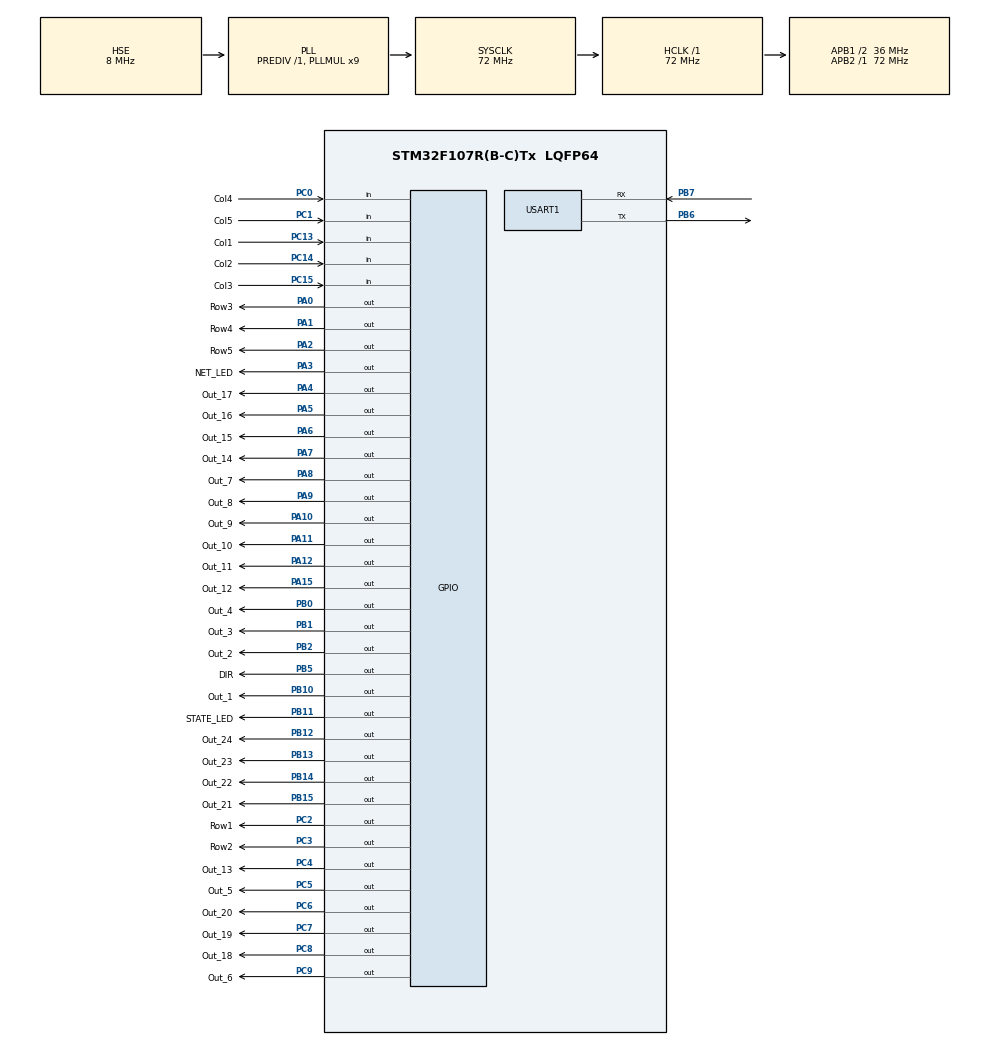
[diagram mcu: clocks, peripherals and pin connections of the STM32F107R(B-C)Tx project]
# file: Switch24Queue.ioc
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ADC1.Channel-0\#ChannelRegularConversion=ADC_CHANNEL_TEMPSENSOR
ADC1.ContinuousConvMode=ENABLE
ADC1.NbrOfConversionFlag=1
ADC1.Rank-0\#ChannelRegularConversion=1
ADC1.SamplingTime-0\#ChannelRegularConversion=ADC_SAMPLETIME_239CYCLES_5
ADC1.master=1
Dma.ADC1.2.Direction=DMA_PERIPH_TO_MEMORY
Dma.ADC1.2.Instance=DMA1_Channel1
Dma.ADC1.2.MemDataAlignment=DMA_MDATAALIGN_WORD
Dma.ADC1.2.MemInc=DMA_MINC_ENABLE
Dma.ADC1.2.Mode=DMA_CIRCULAR
Dma.ADC1.2.PeriphDataAlignment=DMA_PDATAALIGN_WORD
Dma.ADC1.2.PeriphInc=DMA_PINC_DISABLE
Dma.ADC1.2.Priority=DMA_PRIORITY_LOW
Dma.Request0=USART1_RX
Dma.Request1=USART1_TX
Dma.Request2=ADC1
Dma.USART1_RX.0.Direction=DMA_PERIPH_TO_MEMORY
Dma.USART1_RX.0.Instance=DMA1_Channel5
Dma.USART1_RX.0.MemDataAlignment=DMA_MDATAALIGN_BYTE
Dma.USART1_RX.0.MemInc=DMA_MINC_ENABLE
Dma.USART1_RX.0.Mode=DMA_CIRCULAR
Dma.USART1_RX.0.PeriphDataAlignment=DMA_PDATAALIGN_BYTE
Dma.USART1_RX.0.PeriphInc=DMA_PINC_DISABLE
Dma.USART1_RX.0.Priority=DMA_PRIORITY_LOW
Dma.USART1_TX.1.Direction=DMA_MEMORY_TO_PERIPH
Dma.USART1_TX.1.Instance=DMA1_Channel4
Dma.USART1_TX.1.MemDataAlignment=DMA_MDATAALIGN_BYTE
Dma.USART1_TX.1.MemInc=DMA_MINC_ENABLE
Dma.USART1_TX.1.Mode=DMA_NORMAL
Dma.USART1_TX.1.PeriphDataAlignment=DMA_PDATAALIGN_BYTE
Dma.USART1_TX.1.PeriphInc=DMA_PINC_DISABLE
Dma.USART1_TX.1.Priority=DMA_PRIORITY_LOW
IWDG.Prescaler=IWDG_PRESCALER_32
IWDG.Reload=2500
Mcu.Family=STM32F1
Mcu.Name=STM32F107R(B-C)Tx
Mcu.Package=LQFP64
NVIC.ADC1_2_IRQn=true\:0\:0\:false\:false\:true\:true\:true\:true
NVIC.DMA1_Channel1_IRQn=true\:0\:0\:false\:false\:true\:false\:true\:true
NVIC.DMA1_Channel4_IRQn=true\:0\:0\:false\:false\:true\:false\:true\:true
NVIC.DMA1_Channel5_IRQn=true\:0\:0\:false\:false\:true\:false\:true\:true
NVIC.PriorityGroup=NVIC_PRIORITYGROUP_4
NVIC.TIM7_IRQn=true\:15\:0\:false\:false\:true\:false\:true\:true
NVIC.TimeBase=TIM7_IRQn
NVIC.TimeBaseIP=TIM7
NVIC.USART1_IRQn=true\:0\:0\:false\:false\:true\:true\:true\:true
PA0-WKUP.GPIO_Label=Row3
PA0-WKUP.GPIO_ModeDefaultOutputPP=GPIO_MODE_OUTPUT_PP
PA0-WKUP.GPIO_PuPd=GPIO_NOPULL
PA0-WKUP.GPIO_Speed=GPIO_SPEED_FREQ_HIGH
PA0-WKUP.PinState=GPIO_PIN_RESET
PA0-WKUP.Signal=GPIO_Output
PA1.GPIO_Label=Row4
PA1.GPIO_ModeDefaultOutputPP=GPIO_MODE_OUTPUT_PP
PA1.GPIO_PuPd=GPIO_NOPULL
PA1.GPIO_Speed=GPIO_SPEED_FREQ_HIGH
PA1.PinState=GPIO_PIN_RESET
PA1.Signal=GPIO_Output
PA10.GPIO_Label=Out_9
PA10.GPIO_ModeDefaultOutputPP=GPIO_MODE_OUTPUT_PP
PA10.GPIO_PuPd=GPIO_NOPULL
PA10.GPIO_Speed=GPIO_SPEED_FREQ_HIGH
PA10.PinState=GPIO_PIN_RESET
PA10.Signal=GPIO_Output
PA11.GPIO_Label=Out_10
PA11.GPIO_ModeDefaultOutputPP=GPIO_MODE_OUTPUT_PP
PA11.GPIO_PuPd=GPIO_NOPULL
PA11.GPIO_Speed=GPIO_SPEED_FREQ_HIGH
PA11.PinState=GPIO_PIN_RESET
PA11.Signal=GPIO_Output
PA12.GPIO_Label=Out_11
PA12.GPIO_ModeDefaultOutputPP=GPIO_MODE_OUTPUT_PP
PA12.GPIO_PuPd=GPIO_NOPULL
PA12.GPIO_Speed=GPIO_SPEED_FREQ_HIGH
PA12.PinState=GPIO_PIN_RESET
PA12.Signal=GPIO_Output
PA13.Mode=Serial_Wire
PA13.Signal=SYS_JTMS-SWDIO
PA14.Mode=Serial_Wire
PA14.Signal=SYS_JTCK-SWCLK
PA15.GPIO_Label=Out_12
PA15.GPIO_ModeDefaultOutputPP=GPIO_MODE_OUTPUT_PP
PA15.GPIO_PuPd=GPIO_NOPULL
PA15.GPIO_Speed=GPIO_SPEED_FREQ_HIGH
PA15.PinState=GPIO_PIN_RESET
PA15.Signal=GPIO_Output
PA2.GPIO_Label=Row5
PA2.GPIO_ModeDefaultOutputPP=GPIO_MODE_OUTPUT_PP
PA2.GPIO_PuPd=GPIO_NOPULL
PA2.GPIO_Speed=GPIO_SPEED_FREQ_HIGH
PA2.PinState=GPIO_PIN_RESET
PA2.Signal=GPIO_Output
PA3.GPIO_Label=NET_LED
PA3.GPIO_ModeDefaultOutputPP=GPIO_MODE_OUTPUT_PP
PA3.GPIO_PuPd=GPIO_NOPULL
PA3.GPIO_Speed=GPIO_SPEED_FREQ_HIGH
PA3.PinState=GPIO_PIN_RESET
PA3.Signal=GPIO_Output
PA4.GPIO_Label=Out_17
PA4.GPIO_ModeDefaultOutputPP=GPIO_MODE_OUTPUT_PP
PA4.GPIO_PuPd=GPIO_NOPULL
PA4.GPIO_Speed=GPIO_SPEED_FREQ_HIGH
PA4.PinState=GPIO_PIN_RESET
PA4.Signal=GPIO_Output
PA5.GPIO_Label=Out_16
PA5.GPIO_ModeDefaultOutputPP=GPIO_MODE_OUTPUT_PP
PA5.GPIO_PuPd=GPIO_NOPULL
PA5.GPIO_Speed=GPIO_SPEED_FREQ_HIGH
PA5.PinState=GPIO_PIN_RESET
PA5.Signal=GPIO_Output
PA6.GPIO_Label=Out_15
PA6.GPIO_ModeDefaultOutputPP=GPIO_MODE_OUTPUT_PP
PA6.GPIO_PuPd=GPIO_NOPULL
PA6.GPIO_Speed=GPIO_SPEED_FREQ_HIGH
PA6.PinState=GPIO_PIN_RESET
PA6.Signal=GPIO_Output
PA7.GPIO_Label=Out_14
PA7.GPIO_ModeDefaultOutputPP=GPIO_MODE_OUTPUT_PP
PA7.GPIO_PuPd=GPIO_NOPULL
PA7.GPIO_Speed=GPIO_SPEED_FREQ_HIGH
PA7.PinState=GPIO_PIN_RESET
PA7.Signal=GPIO_Output
PA8.GPIO_Label=Out_7
PA8.GPIO_ModeDefaultOutputPP=GPIO_MODE_OUTPUT_PP
PA8.GPIO_PuPd=GPIO_NOPULL
PA8.GPIO_Speed=GPIO_SPEED_FREQ_HIGH
PA8.PinState=GPIO_PIN_RESET
PA8.Signal=GPIO_Output
PA9.GPIO_Label=Out_8
PA9.GPIO_ModeDefaultOutputPP=GPIO_MODE_OUTPUT_PP
PA9.GPIO_PuPd=GPIO_NOPULL
PA9.GPIO_Speed=GPIO_SPEED_FREQ_HIGH
PA9.PinState=GPIO_PIN_RESET
PA9.Signal=GPIO_Output
PB0.GPIO_Label=Out_4
PB0.GPIO_ModeDefaultOutputPP=GPIO_MODE_OUTPUT_PP
PB0.GPIO_PuPd=GPIO_NOPULL
PB0.GPIO_Speed=GPIO_SPEED_FREQ_HIGH
PB0.PinState=GPIO_PIN_RESET
PB0.Signal=GPIO_Output
PB1.GPIO_Label=Out_3
PB1.GPIO_ModeDefaultOutputPP=GPIO_MODE_OUTPUT_PP
PB1.GPIO_PuPd=GPIO_NOPULL
PB1.GPIO_Speed=GPIO_SPEED_FREQ_HIGH
PB1.PinState=GPIO_PIN_RESET
PB1.Signal=GPIO_Output
PB10.GPIO_Label=Out_1
PB10.GPIO_ModeDefaultOutputPP=GPIO_MODE_OUTPUT_PP
PB10.GPIO_PuPd=GPIO_NOPULL
PB10.GPIO_Speed=GPIO_SPEED_FREQ_HIGH
PB10.PinState=GPIO_PIN_RESET
PB10.Signal=GPIO_Output
PB11.GPIO_Label=STATE_LED
PB11.GPIO_ModeDefaultOutputPP=GPIO_MODE_OUTPUT_PP
PB11.GPIO_PuPd=GPIO_NOPULL
PB11.GPIO_Speed=GPIO_SPEED_FREQ_HIGH
PB11.PinState=GPIO_PIN_RESET
PB11.Signal=GPIO_Output
PB12.GPIO_Label=Out_24
PB12.GPIO_ModeDefaultOutputPP=GPIO_MODE_OUTPUT_PP
PB12.GPIO_PuPd=GPIO_NOPULL
PB12.GPIO_Speed=GPIO_SPEED_FREQ_HIGH
PB12.PinState=GPIO_PIN_RESET
PB12.Signal=GPIO_Output
PB13.GPIO_Label=Out_23
PB13.GPIO_ModeDefaultOutputPP=GPIO_MODE_OUTPUT_PP
PB13.GPIO_PuPd=GPIO_NOPULL
PB13.GPIO_Speed=GPIO_SPEED_FREQ_HIGH
PB13.PinState=GPIO_PIN_RESET
PB13.Signal=GPIO_Output
PB14.GPIO_Label=Out_22
PB14.GPIO_ModeDefaultOutputPP=GPIO_MODE_OUTPUT_PP
PB14.GPIO_PuPd=GPIO_NOPULL
PB14.GPIO_Speed=GPIO_SPEED_FREQ_HIGH
PB14.PinState=GPIO_PIN_RESET
PB14.Signal=GPIO_Output
PB15.GPIO_Label=Out_21
PB15.GPIO_ModeDefaultOutputPP=GPIO_MODE_OUTPUT_PP
PB15.GPIO_PuPd=GPIO_NOPULL
PB15.GPIO_Speed=GPIO_SPEED_FREQ_HIGH
PB15.PinState=GPIO_PIN_RESET
PB15.Signal=GPIO_Output
PB2.GPIO_Label=Out_2
PB2.GPIO_ModeDefaultOutputPP=GPIO_MODE_OUTPUT_PP
PB2.GPIO_PuPd=GPIO_NOPULL
PB2.GPIO_Speed=GPIO_SPEED_FREQ_HIGH
PB2.PinState=GPIO_PIN_RESET
PB2.Signal=GPIO_Output
PB5.GPIO_Label=DIR
PB5.GPIO_ModeDefaultOutputPP=GPIO_MODE_OUTPUT_PP
PB5.GPIO_PuPd=GPIO_NOPULL
PB5.GPIO_Speed=GPIO_SPEED_FREQ_HIGH
PB5.PinState=GPIO_PIN_RESET
PB5.Signal=GPIO_Output
PB6.Mode=Asynchronous
PB6.Signal=USART1_TX
PB7.Mode=Asynchronous
PB7.Signal=USART1_RX
PC0.GPIO_Label=Col4
PC0.GPIO_Mode=GPIO_MODE_INPUT
PC0.GPIO_PuPd=GPIO_PULLUP
PC0.Signal=GPIO_Input
PC1.GPIO_Label=Col5
PC1.GPIO_Mode=GPIO_MODE_INPUT
PC1.GPIO_PuPd=GPIO_PULLUP
PC1.Signal=GPIO_Input
PC13-TAMPER-RTC.GPIO_Label=Col1
PC13-TAMPER-RTC.GPIO_Mode=GPIO_MODE_INPUT
PC13-TAMPER-RTC.GPIO_PuPd=GPIO_PULLUP
PC13-TAMPER-RTC.Signal=GPIO_Input
PC14-OSC32_IN.GPIO_Label=Col2
PC14-OSC32_IN.GPIO_Mode=GPIO_MODE_INPUT
PC14-OSC32_IN.GPIO_PuPd=GPIO_PULLUP
PC14-OSC32_IN.Signal=GPIO_Input
PC15-OSC32_OUT.GPIO_Label=Col3
PC15-OSC32_OUT.GPIO_Mode=GPIO_MODE_INPUT
PC15-OSC32_OUT.GPIO_PuPd=GPIO_PULLUP
PC15-OSC32_OUT.Signal=GPIO_Input
PC2.GPIO_Label=Row1
PC2.GPIO_ModeDefaultOutputPP=GPIO_MODE_OUTPUT_PP
PC2.GPIO_PuPd=GPIO_NOPULL
PC2.GPIO_Speed=GPIO_SPEED_FREQ_HIGH
PC2.PinState=GPIO_PIN_RESET
PC2.Signal=GPIO_Output
PC3.GPIO_Label=Row2
PC3.GPIO_ModeDefaultOutputPP=GPIO_MODE_OUTPUT_PP
PC3.GPIO_PuPd=GPIO_NOPULL
PC3.GPIO_Speed=GPIO_SPEED_FREQ_HIGH
PC3.PinState=GPIO_PIN_RESET
PC3.Signal=GPIO_Output
PC4.GPIO_Label=Out_13
PC4.GPIO_ModeDefaultOutputPP=GPIO_MODE_OUTPUT_PP
PC4.GPIO_PuPd=GPIO_NOPULL
PC4.GPIO_Speed=GPIO_SPEED_FREQ_HIGH
PC4.PinState=GPIO_PIN_RESET
PC4.Signal=GPIO_Output
PC5.GPIO_Label=Out_5
PC5.GPIO_ModeDefaultOutputPP=GPIO_MODE_OUTPUT_PP
PC5.GPIO_PuPd=GPIO_NOPULL
PC5.GPIO_Speed=GPIO_SPEED_FREQ_HIGH
PC5.PinState=GPIO_PIN_RESET
PC5.Signal=GPIO_Output
PC6.GPIO_Label=Out_20
PC6.GPIO_ModeDefaultOutputPP=GPIO_MODE_OUTPUT_PP
PC6.GPIO_PuPd=GPIO_NOPULL
PC6.GPIO_Speed=GPIO_SPEED_FREQ_HIGH
PC6.PinState=GPIO_PIN_RESET
PC6.Signal=GPIO_Output
PC7.GPIO_Label=Out_19
PC7.GPIO_ModeDefaultOutputPP=GPIO_MODE_OUTPUT_PP
PC7.GPIO_PuPd=GPIO_NOPULL
PC7.GPIO_Speed=GPIO_SPEED_FREQ_HIGH
PC7.PinState=GPIO_PIN_RESET
PC7.Signal=GPIO_Output
PC8.GPIO_Label=Out_18
PC8.GPIO_ModeDefaultOutputPP=GPIO_MODE_OUTPUT_PP
PC8.GPIO_PuPd=GPIO_NOPULL
PC8.GPIO_Speed=GPIO_SPEED_FREQ_HIGH
PC8.PinState=GPIO_PIN_RESET
PC8.Signal=GPIO_Output
PC9.GPIO_Label=Out_6
PC9.GPIO_ModeDefaultOutputPP=GPIO_MODE_OUTPUT_PP
PC9.GPIO_PuPd=GPIO_NOPULL
PC9.GPIO_Speed=GPIO_SPEED_FREQ_HIGH
PC9.PinState=GPIO_PIN_RESET
PC9.Signal=GPIO_Output
PD0-OSC_IN.Mode=HSE-External-Oscillator
PD0-OSC_IN.Signal=RCC_OSC_IN
PD1-OSC_OUT.Mode=HSE-External-Oscillator
PD1-OSC_OUT.Signal=RCC_OSC_OUT
ProjectManager.HeapSize=0x200
ProjectManager.StackSize=0x400
ProjectManager.TargetToolchain=STM32CubeIDE
RCC.ADCPresc=RCC_ADCPCLK2_DIV6
RCC.AHBFreq_Value=72000000
RCC.APB1CLKDivider=RCC_HCLK_DIV2
RCC.APB1Freq_Value=36000000
RCC.APB1TimFreq_Value=72000000
RCC.APB2Freq_Value=72000000
RCC.APB2TimFreq_Value=72000000
RCC.EnbaleCSS=true
RCC.HCLKFreq_Value=72000000
RCC.PLLMUL=RCC_PLL_MUL9
RCC.PLLSourceVirtual=RCC_PLLSOURCE_HSE
RCC.SYSCLKFreq_VALUE=72000000
RCC.SYSCLKSource=RCC_SYSCLKSOURCE_PLLCLK
RCC.USBFreq_Value=48000000
USART1.VirtualMode=VM_ASYNC
VP_ADC1_TempSens_Input.Mode=IN-TempSens
VP_IWDG_VS_IWDG.Mode=IWDG_Activate
VP_SYS_VS_tim7.Mode=TIM7
board=custom

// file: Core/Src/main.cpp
/* USER CODE BEGIN Header */
/**
  ******************************************************************************
  * @file           : main.c
  * @brief          : Main program body
  ******************************************************************************
  * @attention
  *
  * Copyright (c) 2026 STMicroelectronics.
  * All rights reserved.
  *
  * This software is licensed under terms that can be found in the LICENSE file
  * in the root directory of this software component.
  * If no LICENSE file comes with this software, it is provided AS-IS.
  *
  ******************************************************************************
  */
/* USER CODE END Header */
#include "main.h"

/* USER CODE BEGIN Includes */
#include "74HC595.h"
#include "KeyBoard.h"
#include "dwt_stm32_delay.h"
#include <stdbool.h>
#include "SAVEKEY.h"
#include "LnkList.h"
/* USER CODE END Includes */

/* USER CODE BEGIN PTD */
typedef enum
{
	ResetSwitch								= 0x00,
	ResetFactorySwitch						,
	SaveSwitch								,
	SetSwitchPin							,
	SetScenarioPin
}CommandHeader;

typedef struct
{
	CommandHeader							Header;
	uint8_t									SwitchNumber;
	uint8_t									ID;
	KeyNum									KeyNumber;
	HeaderType								KeyType;
	uint32_t								DingDongTime;
	uint8_t									CheckSum;
}CommandSwitch;

typedef enum
{
	ScenarioON								= 0x00,
	ScenarioOFF								,
	ScenarioONOFF
}ScenarioStates;

typedef struct
{
	uint8_t									ID;
	KeyNum									KeyNumber;
	ScenarioStates							State;
}OnScenario;
/* USER CODE END PTD */

/* USER CODE BEGIN PD */
#define SwitchLen 24
#define ScenarioLen 10
#define WriteToFlashTime 30000
/* USER CODE END PD */

ADC_HandleTypeDef hadc1;
DMA_HandleTypeDef hdma_adc1;

IWDG_HandleTypeDef hiwdg;

UART_HandleTypeDef huart1;
DMA_HandleTypeDef hdma_usart1_rx;
DMA_HandleTypeDef hdma_usart1_tx;

/* USER CODE BEGIN PV */
extern uint8_t rxLineBusy;

uint32_t NextWriteToFlash;
RowsCols Rows[5],Cols[5];
MKeyBoard Keyboard;

switchState Pins_Test[SwitchLen];
uint32_t DingDongs[SwitchLen];
OnScenario Pins_Scenario[SwitchLen][ScenarioLen];
uint32_t KeyPress,LastKeyPress,SendStateTime,SendReportSenTime,LEDTime;
SerialPort Port;
SaveKeyProtocol Protocol(&huart1,DIR_GPIO_Port,DIR_Pin,&Port);
bool SendState = false,SendReportSen = false,skeepData = false,senkeys[10];
uint32_t TimeCounter;
LinkedList *LnkLst = new LinkedList();
uint32_t NextSend;

/* USER CODE END PV */

void SystemClock_Config(void);
static void MX_GPIO_Init(void);
static void MX_DMA_Init(void);
static void MX_USART1_UART_Init(void);
static void MX_ADC1_Init(void);
static void MX_IWDG_Init(void);
/* USER CODE BEGIN PFP */
void ResetFactory(void);
void DoRelay(switchState *Pins);
void ReportAllKeys(uint8_t ID,HeaderType type);
HAL_StatusTypeDef WriteToFlash(uint8_t _state);
void ReadFromFlash(bool _SaveScenario);
bool changeCurtainState(KeyNum _Key,KeyState _State,uint8_t _ID);
void DataRecieved(SerialPort	*_Port);
/* USER CODE END PFP */

/* USER CODE BEGIN 0 */
void UartPacket_IdleCallback(UART_HandleTypeDef *huart)
{
	rxLineBusy = 0;
	Protocol.rxCompleted();
	Protocol.Process();
}

void HAL_UART_TxCpltCallback(UART_HandleTypeDef *huart)
{
	if(huart->Instance == USART1)
	{
		Protocol.LineFreed();
	}
}
/* USER CODE END 0 */

int main(void)
{

  /* MCU Configuration--------------------------------------------------------*/

  /* Reset of all peripherals, Initializes the Flash interface and the Systick. */
  HAL_Init();

  /* Configure the system clock */
  SystemClock_Config();

  /* Initialize all configured peripherals */
  MX_GPIO_Init();
  MX_DMA_Init();
  MX_USART1_UART_Init();
  MX_ADC1_Init();
  MX_IWDG_Init();
  /* USER CODE BEGIN 2 */
  	HAL_IWDG_Refresh(&hiwdg);
  	Protocol.LineFreed();

	ReadFromFlash(true);
	DoRelay(Pins_Test);
	HAL_IWDG_Refresh(&hiwdg);
	Rows[4].GPIO = Row5_GPIO_Port;
	Rows[4].GPIO_Pin = Row5_Pin;
	Rows[3].GPIO = Row4_GPIO_Port;
	Rows[3].GPIO_Pin = Row4_Pin;
	Rows[2].GPIO = Row3_GPIO_Port;
	Rows[2].GPIO_Pin = Row3_Pin;
	Rows[1].GPIO = Row2_GPIO_Port;
	Rows[1].GPIO_Pin = Row2_Pin;
	Rows[0].GPIO = Row1_GPIO_Port;
	Rows[0].GPIO_Pin = Row1_Pin;

	Cols[4].GPIO = Col5_GPIO_Port;
	Cols[4].GPIO_Pin = Col5_Pin;
	Cols[3].GPIO = Col4_GPIO_Port;
	Cols[3].GPIO_Pin = Col4_Pin;
	Cols[2].GPIO = Col3_GPIO_Port;
	Cols[2].GPIO_Pin = Col3_Pin;
	Cols[1].GPIO = Col2_GPIO_Port;
	Cols[1].GPIO_Pin = Col2_Pin;
	Cols[0].GPIO = Col1_GPIO_Port;
	Cols[0].GPIO_Pin = Col1_Pin;

	Keyboard.SetRows(Cols,5);
	Keyboard.SetCols(Rows,5);

	NextSend = HAL_GetTick() + 15;
	SendState = true;
	SendStateTime = HAL_GetTick() + 200;
  /* USER CODE END 2 */

  /* Infinite loop */
  while (1)
  {

  }
}

void SystemClock_Config(void)
{
  RCC_OscInitTypeDef RCC_OscInitStruct = {0};
  RCC_ClkInitTypeDef RCC_ClkInitStruct = {0};
  RCC_PeriphCLKInitTypeDef PeriphClkInit = {0};

  /** Initializes the RCC Oscillators according to the specified parameters
  * in the RCC_OscInitTypeDef structure.
  */
  RCC_OscInitStruct.OscillatorType = RCC_OSCILLATORTYPE_LSI|RCC_OSCILLATORTYPE_HSE;
  RCC_OscInitStruct.HSEState = RCC_HSE_ON;
  RCC_OscInitStruct.HSEPredivValue = RCC_HSE_PREDIV_DIV1;
  RCC_OscInitStruct.HSIState = RCC_HSI_ON;
  RCC_OscInitStruct.LSIState = RCC_LSI_ON;
  RCC_OscInitStruct.Prediv1Source = RCC_PREDIV1_SOURCE_HSE;
  RCC_OscInitStruct.PLL.PLLState = RCC_PLL_ON;
  RCC_OscInitStruct.PLL.PLLSource = RCC_PLLSOURCE_HSE;
  RCC_OscInitStruct.PLL.PLLMUL = RCC_PLL_MUL9;
  RCC_OscInitStruct.PLL2.PLL2State = RCC_PLL_NONE;
  if (HAL_RCC_OscConfig(&RCC_OscInitStruct) != HAL_OK)
  {
    Error_Handler();
  }

  /** Initializes the CPU, AHB and APB buses clocks
  */
  RCC_ClkInitStruct.ClockType = RCC_CLOCKTYPE_HCLK|RCC_CLOCKTYPE_SYSCLK
                              |RCC_CLOCKTYPE_PCLK1|RCC_CLOCKTYPE_PCLK2;
  RCC_ClkInitStruct.SYSCLKSource = RCC_SYSCLKSOURCE_PLLCLK;
  RCC_ClkInitStruct.AHBCLKDivider = RCC_SYSCLK_DIV1;
  RCC_ClkInitStruct.APB1CLKDivider = RCC_HCLK_DIV2;
  RCC_ClkInitStruct.APB2CLKDivider = RCC_HCLK_DIV1;

  if (HAL_RCC_ClockConfig(&RCC_ClkInitStruct, FLASH_LATENCY_2) != HAL_OK)
  {
    Error_Handler();
  }
  PeriphClkInit.PeriphClockSelection = RCC_PERIPHCLK_ADC;
  PeriphClkInit.AdcClockSelection = RCC_ADCPCLK2_DIV6;
  if (HAL_RCCEx_PeriphCLKConfig(&PeriphClkInit) != HAL_OK)
  {
    Error_Handler();
  }

  /** Enables the Clock Security System
  */
  HAL_RCC_EnableCSS();

  /** Configure the Systick interrupt time
  */
  __HAL_RCC_PLLI2S_ENABLE();
}

static void MX_ADC1_Init(void)
{

  ADC_ChannelConfTypeDef sConfig = {0};

  /** Common config
  */
  hadc1.Instance = ADC1;
  hadc1.Init.ScanConvMode = ADC_SCAN_DISABLE;
  hadc1.Init.ContinuousConvMode = ENABLE;
  hadc1.Init.DiscontinuousConvMode = DISABLE;
  hadc1.Init.ExternalTrigConv = ADC_SOFTWARE_START;
  hadc1.Init.DataAlign = ADC_DATAALIGN_RIGHT;
  hadc1.Init.NbrOfConversion = 1;
  if (HAL_ADC_Init(&hadc1) != HAL_OK)
  {
    Error_Handler();
  }

  /** Configure Regular Channel
  */
  sConfig.Channel = ADC_CHANNEL_TEMPSENSOR;
  sConfig.Rank = ADC_REGULAR_RANK_1;
  sConfig.SamplingTime = ADC_SAMPLETIME_239CYCLES_5;
  if (HAL_ADC_ConfigChannel(&hadc1, &sConfig) != HAL_OK)
  {
    Error_Handler();
  }

}

static void MX_IWDG_Init(void)
{

  hiwdg.Instance = IWDG;
  hiwdg.Init.Prescaler = IWDG_PRESCALER_32;
  hiwdg.Init.Reload = 2500;
  if (HAL_IWDG_Init(&hiwdg) != HAL_OK)
  {
    Error_Handler();
  }

}

static void MX_USART1_UART_Init(void)
{

  huart1.Instance = USART1;
  huart1.Init.BaudRate = 115200;
  huart1.Init.WordLength = UART_WORDLENGTH_8B;
  huart1.Init.StopBits = UART_STOPBITS_1;
  huart1.Init.Parity = UART_PARITY_NONE;
  huart1.Init.Mode = UART_MODE_TX_RX;
  huart1.Init.HwFlowCtl = UART_HWCONTROL_NONE;
  huart1.Init.OverSampling = UART_OVERSAMPLING_16;
  if (HAL_UART_Init(&huart1) != HAL_OK)
  {
    Error_Handler();
  }

}

static void MX_DMA_Init(void)
{

  /* DMA controller clock enable */
  __HAL_RCC_DMA1_CLK_ENABLE();

  /* DMA interrupt init */
  /* DMA1_Channel1_IRQn interrupt configuration */
  HAL_NVIC_SetPriority(DMA1_Channel1_IRQn, 0, 0);
  HAL_NVIC_EnableIRQ(DMA1_Channel1_IRQn);
  /* DMA1_Channel4_IRQn interrupt configuration */
  HAL_NVIC_SetPriority(DMA1_Channel4_IRQn, 0, 0);
  HAL_NVIC_EnableIRQ(DMA1_Channel4_IRQn);
  /* DMA1_Channel5_IRQn interrupt configuration */
  HAL_NVIC_SetPriority(DMA1_Channel5_IRQn, 0, 0);
  HAL_NVIC_EnableIRQ(DMA1_Channel5_IRQn);

}

static void MX_GPIO_Init(void)
{
  GPIO_InitTypeDef GPIO_InitStruct = {0};

  /* GPIO Ports Clock Enable */
  __HAL_RCC_GPIOC_CLK_ENABLE();
  __HAL_RCC_GPIOD_CLK_ENABLE();
  __HAL_RCC_GPIOA_CLK_ENABLE();
  __HAL_RCC_GPIOB_CLK_ENABLE();

  /*Configure GPIO pin Output Level */
  HAL_GPIO_WritePin(GPIOC, Row1_Pin|Row2_Pin|Out_13_Pin|Out_5_Pin
                          |Out_20_Pin|Out_19_Pin|Out_18_Pin|Out_6_Pin, GPIO_PIN_RESET);

  /*Configure GPIO pin Output Level */
  HAL_GPIO_WritePin(GPIOA, Row3_Pin|Row4_Pin|Row5_Pin|NET_LED_Pin
                          |Out_17_Pin|Out_16_Pin|Out_15_Pin|Out_14_Pin
                          |Out_7_Pin|Out_8_Pin|Out_9_Pin|Out_10_Pin
                          |Out_11_Pin|Out_12_Pin, GPIO_PIN_RESET);

  /*Configure GPIO pin Output Level */
  HAL_GPIO_WritePin(GPIOB, Out_4_Pin|Out_3_Pin|Out_2_Pin|Out_1_Pin
                          |STATE_LED_Pin|Out_24_Pin|Out_23_Pin|Out_22_Pin
                          |Out_21_Pin|DIR_Pin, GPIO_PIN_RESET);

  /*Configure GPIO pins : Col1_Pin Col2_Pin Col3_Pin Col4_Pin
                           Col5_Pin */
  GPIO_InitStruct.Pin = Col1_Pin|Col2_Pin|Col3_Pin|Col4_Pin
                          |Col5_Pin;
  GPIO_InitStruct.Mode = GPIO_MODE_INPUT;
  GPIO_InitStruct.Pull = GPIO_PULLUP;
  HAL_GPIO_Init(GPIOC, &GPIO_InitStruct);

  /*Configure GPIO pins : Row1_Pin Row2_Pin Out_13_Pin Out_5_Pin
                           Out_20_Pin Out_19_Pin Out_18_Pin Out_6_Pin */
  GPIO_InitStruct.Pin = Row1_Pin|Row2_Pin|Out_13_Pin|Out_5_Pin
                          |Out_20_Pin|Out_19_Pin|Out_18_Pin|Out_6_Pin;
  GPIO_InitStruct.Mode = GPIO_MODE_OUTPUT_PP;
  GPIO_InitStruct.Pull = GPIO_NOPULL;
  GPIO_InitStruct.Speed = GPIO_SPEED_FREQ_HIGH;
  HAL_GPIO_Init(GPIOC, &GPIO_InitStruct);

  /*Configure GPIO pins : Row3_Pin Row4_Pin Row5_Pin NET_LED_Pin
                           Out_17_Pin Out_16_Pin Out_15_Pin Out_14_Pin
                           Out_7_Pin Out_8_Pin Out_9_Pin Out_10_Pin
                           Out_11_Pin Out_12_Pin */
  GPIO_InitStruct.Pin = Row3_Pin|Row4_Pin|Row5_Pin|NET_LED_Pin
                          |Out_17_Pin|Out_16_Pin|Out_15_Pin|Out_14_Pin
                          |Out_7_Pin|Out_8_Pin|Out_9_Pin|Out_10_Pin
                          |Out_11_Pin|Out_12_Pin;
  GPIO_InitStruct.Mode = GPIO_MODE_OUTPUT_PP;
  GPIO_InitStruct.Pull = GPIO_NOPULL;
  GPIO_InitStruct.Speed = GPIO_SPEED_FREQ_HIGH;
  HAL_GPIO_Init(GPIOA, &GPIO_InitStruct);

  /*Configure GPIO pins : Out_4_Pin Out_3_Pin Out_2_Pin Out_1_Pin
                           STATE_LED_Pin Out_24_Pin Out_23_Pin Out_22_Pin
                           Out_21_Pin DIR_Pin */
  GPIO_InitStruct.Pin = Out_4_Pin|Out_3_Pin|Out_2_Pin|Out_1_Pin
                          |STATE_LED_Pin|Out_24_Pin|Out_23_Pin|Out_22_Pin
                          |Out_21_Pin|DIR_Pin;
  GPIO_InitStruct.Mode = GPIO_MODE_OUTPUT_PP;
  GPIO_InitStruct.Pull = GPIO_NOPULL;
  GPIO_InitStruct.Speed = GPIO_SPEED_FREQ_HIGH;
  HAL_GPIO_Init(GPIOB, &GPIO_InitStruct);

}

/* USER CODE BEGIN 4 */
void ResetFactory(void)
{
	for(uint8_t i = 0 ; i < SwitchLen ; i++)
	{
		Pins_Test[i].ID = (i / 4) + 1;
		Pins_Test[i].KeyNumber = (KeyNum)(Key01 + (i % 4));
		Pins_Test[i].PinState = GPIO_PIN_RESET;
		Pins_Test[i].KeyType = Key;
		Pins_Test[i].virtualKey = true;
		Pins_Test[i].DingDongTime = 0;
		for(uint8_t i2 = 0 ; i2 < ScenarioLen ; i2++)
		{
			Pins_Scenario[i][i2].ID = 0;
			Pins_Scenario[i][i2].KeyNumber = (KeyNum)0;
			Pins_Scenario[i][i2].State = (ScenarioStates)0;
		}
	}

	if(WriteToFlash(1) == HAL_ERROR)
	{
		ResetFactory();
	}
}

void DoRelay(switchState *Pins)
{
	(Pins[0].PinState == GPIO_PIN_RESET)?HAL_GPIO_WritePin(Out_1_GPIO_Port,Out_1_Pin,GPIO_PIN_RESET):HAL_GPIO_WritePin(Out_1_GPIO_Port,Out_1_Pin,GPIO_PIN_SET);
	(Pins[1].PinState == GPIO_PIN_RESET)?HAL_GPIO_WritePin(Out_2_GPIO_Port,Out_2_Pin,GPIO_PIN_RESET):HAL_GPIO_WritePin(Out_2_GPIO_Port,Out_2_Pin,GPIO_PIN_SET);
	(Pins[2].PinState == GPIO_PIN_RESET)?HAL_GPIO_WritePin(Out_3_GPIO_Port,Out_3_Pin,GPIO_PIN_RESET):HAL_GPIO_WritePin(Out_3_GPIO_Port,Out_3_Pin,GPIO_PIN_SET);
	(Pins[3].PinState == GPIO_PIN_RESET)?HAL_GPIO_WritePin(Out_4_GPIO_Port,Out_4_Pin,GPIO_PIN_RESET):HAL_GPIO_WritePin(Out_4_GPIO_Port,Out_4_Pin,GPIO_PIN_SET);
	(Pins[4].PinState == GPIO_PIN_RESET)?HAL_GPIO_WritePin(Out_5_GPIO_Port,Out_5_Pin,GPIO_PIN_RESET):HAL_GPIO_WritePin(Out_5_GPIO_Port,Out_5_Pin,GPIO_PIN_SET);
	(Pins[5].PinState == GPIO_PIN_RESET)?HAL_GPIO_WritePin(Out_6_GPIO_Port,Out_6_Pin,GPIO_PIN_RESET):HAL_GPIO_WritePin(Out_6_GPIO_Port,Out_6_Pin,GPIO_PIN_SET);
	(Pins[6].PinState == GPIO_PIN_RESET)?HAL_GPIO_WritePin(Out_7_GPIO_Port,Out_7_Pin,GPIO_PIN_RESET):HAL_GPIO_WritePin(Out_7_GPIO_Port,Out_7_Pin,GPIO_PIN_SET);
	(Pins[7].PinState == GPIO_PIN_RESET)?HAL_GPIO_WritePin(Out_8_GPIO_Port,Out_8_Pin,GPIO_PIN_RESET):HAL_GPIO_WritePin(Out_8_GPIO_Port,Out_8_Pin,GPIO_PIN_SET);
	(Pins[8].PinState == GPIO_PIN_RESET)?HAL_GPIO_WritePin(Out_9_GPIO_Port,Out_9_Pin,GPIO_PIN_RESET):HAL_GPIO_WritePin(Out_9_GPIO_Port,Out_9_Pin,GPIO_PIN_SET);
	(Pins[9].PinState == GPIO_PIN_RESET)?HAL_GPIO_WritePin(Out_10_GPIO_Port,Out_10_Pin,GPIO_PIN_RESET):HAL_GPIO_WritePin(Out_10_GPIO_Port,Out_10_Pin,GPIO_PIN_SET);
	(Pins[10].PinState == GPIO_PIN_RESET)?HAL_GPIO_WritePin(Out_11_GPIO_Port,Out_11_Pin,GPIO_PIN_RESET):HAL_GPIO_WritePin(Out_11_GPIO_Port,Out_11_Pin,GPIO_PIN_SET);
	(Pins[11].PinState == GPIO_PIN_RESET)?HAL_GPIO_WritePin(Out_12_GPIO_Port,Out_12_Pin,GPIO_PIN_RESET):HAL_GPIO_WritePin(Out_12_GPIO_Port,Out_12_Pin,GPIO_PIN_SET);
	(Pins[12].PinState == GPIO_PIN_RESET)?HAL_GPIO_WritePin(Out_13_GPIO_Port,Out_13_Pin,GPIO_PIN_RESET):HAL_GPIO_WritePin(Out_13_GPIO_Port,Out_13_Pin,GPIO_PIN_SET);
	(Pins[13].PinState == GPIO_PIN_RESET)?HAL_GPIO_WritePin(Out_14_GPIO_Port,Out_14_Pin,GPIO_PIN_RESET):HAL_GPIO_WritePin(Out_14_GPIO_Port,Out_14_Pin,GPIO_PIN_SET);
	(Pins[14].PinState == GPIO_PIN_RESET)?HAL_GPIO_WritePin(Out_15_GPIO_Port,Out_15_Pin,GPIO_PIN_RESET):HAL_GPIO_WritePin(Out_15_GPIO_Port,Out_15_Pin,GPIO_PIN_SET);
	(Pins[15].PinState == GPIO_PIN_RESET)?HAL_GPIO_WritePin(Out_16_GPIO_Port,Out_16_Pin,GPIO_PIN_RESET):HAL_GPIO_WritePin(Out_16_GPIO_Port,Out_16_Pin,GPIO_PIN_SET);
	(Pins[16].PinState == GPIO_PIN_RESET)?HAL_GPIO_WritePin(Out_17_GPIO_Port,Out_17_Pin,GPIO_PIN_RESET):HAL_GPIO_WritePin(Out_17_GPIO_Port,Out_17_Pin,GPIO_PIN_SET);
	(Pins[17].PinState == GPIO_PIN_RESET)?HAL_GPIO_WritePin(Out_18_GPIO_Port,Out_18_Pin,GPIO_PIN_RESET):HAL_GPIO_WritePin(Out_18_GPIO_Port,Out_18_Pin,GPIO_PIN_SET);
	(Pins[18].PinState == GPIO_PIN_RESET)?HAL_GPIO_WritePin(Out_19_GPIO_Port,Out_19_Pin,GPIO_PIN_RESET):HAL_GPIO_WritePin(Out_19_GPIO_Port,Out_19_Pin,GPIO_PIN_SET);
	(Pins[19].PinState == GPIO_PIN_RESET)?HAL_GPIO_WritePin(Out_20_GPIO_Port,Out_20_Pin,GPIO_PIN_RESET):HAL_GPIO_WritePin(Out_20_GPIO_Port,Out_20_Pin,GPIO_PIN_SET);
	(Pins[20].PinState == GPIO_PIN_RESET)?HAL_GPIO_WritePin(Out_21_GPIO_Port,Out_21_Pin,GPIO_PIN_RESET):HAL_GPIO_WritePin(Out_21_GPIO_Port,Out_21_Pin,GPIO_PIN_SET);
	(Pins[21].PinState == GPIO_PIN_RESET)?HAL_GPIO_WritePin(Out_22_GPIO_Port,Out_22_Pin,GPIO_PIN_RESET):HAL_GPIO_WritePin(Out_22_GPIO_Port,Out_22_Pin,GPIO_PIN_SET);
	(Pins[22].PinState == GPIO_PIN_RESET)?HAL_GPIO_WritePin(Out_23_GPIO_Port,Out_23_Pin,GPIO_PIN_RESET):HAL_GPIO_WritePin(Out_23_GPIO_Port,Out_23_Pin,GPIO_PIN_SET);
	(Pins[23].PinState == GPIO_PIN_RESET)?HAL_GPIO_WritePin(Out_24_GPIO_Port,Out_24_Pin,GPIO_PIN_RESET):HAL_GPIO_WritePin(Out_24_GPIO_Port,Out_24_Pin,GPIO_PIN_SET);
}

void ReportAllKeys(uint8_t ID,HeaderType type)
{
	SendState = true;
	HAL_IWDG_Refresh(&hiwdg);
	if(ID == 0 && type == 0x00)
	{
		for(uint8_t _Count = 0 ; _Count < SwitchLen ; _Count++)
		{
			HAL_IWDG_Refresh(&hiwdg);
			if(Pins_Test[_Count].KeyType == Key && Pins_Test[_Count].virtualKey == true)
			{
				//Protocol.SendCommand(Pins_Test[_Count].KeyType,(Pins_Test[_Count].PinState == GPIO_PIN_RESET)?ReqOff:ReqOn,Pins_Test[_Count].ID,Pins_Test[_Count].KeyNumber);
				LnkLst->SetCommand(Key,(Pins_Test[_Count].PinState == GPIO_PIN_RESET)?ResOff:ResOn,Pins_Test[_Count].ID,Pins_Test[_Count].KeyNumber);
			}
			else if(Pins_Test[_Count].KeyType == Curtain && Pins_Test[_Count].virtualKey == true)
			{
				LnkLst->SetCommand(Curtain,(Pins_Test[_Count].PinState == GPIO_PIN_RESET)?ResOff:ResOn,Pins_Test[_Count].ID,Pins_Test[_Count].KeyNumber);
			}
		}
	}
	else
	{
		for(uint8_t _Count = 0 ; _Count < SwitchLen ; _Count++)
		{
			HAL_IWDG_Refresh(&hiwdg);
			if(Pins_Test[_Count].ID == ID && Pins_Test[_Count].KeyType == type)
			{
				if(Pins_Test[_Count].KeyType == Key && Pins_Test[_Count].virtualKey == true)
				{
					//Protocol.SendCommand(Pins_Test[_Count].KeyType,(Pins_Test[_Count].PinState == GPIO_PIN_RESET)?ReqOff:ReqOn,Pins_Test[_Count].ID,Pins_Test[_Count].KeyNumber);
					LnkLst->SetCommand(Key,(Pins_Test[_Count].PinState == GPIO_PIN_RESET)?ResOff:ResOn,Pins_Test[_Count].ID,Pins_Test[_Count].KeyNumber);
				}
				else if(Pins_Test[_Count].KeyType == Curtain && Pins_Test[_Count].virtualKey == true)
				{
					LnkLst->SetCommand(Curtain,(Pins_Test[_Count].PinState == GPIO_PIN_RESET)?ResOff:ResOn,Pins_Test[_Count].ID,Pins_Test[_Count].KeyNumber);
				}
			}
		}
	}
	SendState = false;
}

HAL_StatusTypeDef WriteToFlash(uint8_t _state)
{
	uint16_t *RWData;
	uint32_t FlashAddress;
	FLASH_EraseInitTypeDef s_eraseinit;
	uint32_t page_error = 0;

	s_eraseinit.TypeErase   = FLASH_TYPEERASE_PAGES;
  s_eraseinit.PageAddress = FLASH_BASE + 0xF800;
  s_eraseinit.NbPages     = 1;

	HAL_IWDG_Refresh(&hiwdg);
	//__disable_irq();
	HAL_FLASH_Unlock();

	if(_state < 1 || _state > 2)
	{
		HAL_FLASH_Lock();
		__enable_irq();
		return HAL_ERROR;
	}

  if (HAL_FLASHEx_Erase(&s_eraseinit, &page_error) == HAL_OK)
	{
		RWData = (uint16_t *)&Pins_Test;
		FlashAddress = FLASH_BASE + 0xF800;
		if(*(__IO uint16_t *)(FlashAddress) != 0xFFFF)
		{
			HAL_FLASH_Lock();
			__enable_irq();
			return HAL_ERROR;
		}
		for(uint32_t _Count = 0 ; _Count < (SwitchLen * sizeof(switchState)) ; _Count+=2,FlashAddress+=2,RWData++)
		{
			HAL_FLASH_Program(FLASH_TYPEPROGRAM_HALFWORD,FlashAddress,*RWData);
			if(*RWData != *(__IO uint16_t *)(FlashAddress))
			{
				HAL_FLASH_Lock();
				__enable_irq();
				return HAL_ERROR;
			}
		}
		if(_state == 2)
		{
			HAL_FLASH_Lock();
			HAL_FLASH_Unlock();
			s_eraseinit.TypeErase   = FLASH_TYPEERASE_PAGES;
			s_eraseinit.PageAddress = FLASH_BASE + 0xF400;
			s_eraseinit.NbPages     = 1;
			FlashAddress = FLASH_BASE + 0xF400;
			RWData = (uint16_t *)&Pins_Scenario;
			if (HAL_FLASHEx_Erase(&s_eraseinit, &page_error) == HAL_OK)
			{
				if(*(__IO uint16_t *)(FlashAddress) != 0xFFFF)
				{
					HAL_FLASH_Lock();
					__enable_irq();
					return HAL_ERROR;
				}
				for(uint32_t _Count = 0 ; _Count < (SwitchLen * ScenarioLen * sizeof(OnScenario)) ; _Count+=2,FlashAddress+=2,RWData++)
				{
					HAL_FLASH_Program(FLASH_TYPEPROGRAM_HALFWORD,FlashAddress,*RWData);
					if(*RWData != *(__IO uint16_t *)(FlashAddress))
					{
						HAL_FLASH_Lock();
						__enable_irq();
						return HAL_ERROR;
					}
				}
			}
			else
			{
				HAL_FLASH_Lock();
				__enable_irq();
				return HAL_ERROR;
			}
		}
		HAL_FLASH_Lock();
		__enable_irq();
		return HAL_OK;
	}

	HAL_FLASH_Lock();
	__enable_irq();
	return HAL_ERROR;
}

void ReadFromFlash(bool _SaveScenario)
{
	uint16_t *RWData = (uint16_t *)Pins_Test;
	uint32_t FlashAddress;

	FlashAddress = FLASH_BASE + 0xF800 + (0 * sizeof(switchState));
	*RWData = *(__IO uint16_t *)(FlashAddress);

//	if(*RWData == 0xFFFF)
//	{
//		ResetFactory();
//		return;
//	}

	FlashAddress = FLASH_BASE + 0xF800;
	for(uint32_t _Count = 0 ; _Count < (SwitchLen * sizeof(switchState))  ; _Count+=2,RWData++,FlashAddress+=2)
	{
			*RWData = *(__IO uint16_t *)(FlashAddress);
	}
	DoRelay(Pins_Test);
	RWData = (uint16_t *)Pins_Scenario;
	FlashAddress = FLASH_BASE + 0xF400;
	if(_SaveScenario == true)
	{
		for(uint32_t _Count = 0 ; _Count < (SwitchLen * ScenarioLen * sizeof(OnScenario))  ; _Count+=2,RWData++,FlashAddress+=2)
		{
				*RWData = *(__IO uint16_t *)(FlashAddress);
		}
	}
}

bool changeCurtainState(KeyNum _Key,KeyState _State,uint8_t _ID)
{
	bool retvalue = true;
	if(_State == ReqOn || _State == ResOn)
	{
		KeyNum open,close,stop;
		if(_Key == Open1 || _Key == Close1)
		{
			open = Open1;
			stop = Stop1;
			close = Close1;
		}
		else if(_Key >= Open2 && _Key <= Close2)
		{
			open = Open2;
			stop = Stop2;
			close = Close2;
		}
		else if(_Key >= Open3 && _Key <= Close3)
		{
			open = Open3;
			stop = Stop3;
			close = Close3;
		}
		for(uint8_t i = 0 ; i < SwitchLen ; i++)
		{
			if((Pins_Test[i].KeyNumber == open || Pins_Test[i].KeyNumber == stop || Pins_Test[i].KeyNumber == close) && Pins_Test[i].ID == _ID)
			{
				(Pins_Test[i].KeyNumber == _Key)?(Pins_Test[i].PinState = GPIO_PIN_SET):(Pins_Test[i].PinState = GPIO_PIN_RESET);
				if(Pins_Test[i].virtualKey == true)
				{
					//Protocol.SendCommand(Pins_Test[i].KeyType,(Pins_Test[_Count].PinState == GPIO_PIN_RESET)?ResOff:ResOn,Pins_Test[_Count].ID,Pins_Test[_Count].KeyNumber);
					LnkLst->SetCommand(Pins_Test[i].KeyType,(Pins_Test[i].PinState == GPIO_PIN_RESET)?ResOff:ResOn,Pins_Test[i].ID,Pins_Test[i].KeyNumber);
				}
			}
		}
	}
	else if(_State == ReqOff || _State == ResOff)
	{
		for(uint8_t i = 0 ; i < SwitchLen ; i++)
		{
			if((Pins_Test[i].KeyNumber == _Key) && Pins_Test[i].ID == _ID)
			{
				Pins_Test[i].PinState = GPIO_PIN_RESET;
				if(Pins_Test[i].virtualKey == true)
				{
					//Protocol.SendCommand(Pins_Test[i].KeyType,(Pins_Test[_Count].PinState == GPIO_PIN_RESET)?ResOff:ResOn,Pins_Test[_Count].ID,Pins_Test[_Count].KeyNumber);
					LnkLst->SetCommand(Pins_Test[i].KeyType,(Pins_Test[i].PinState == GPIO_PIN_RESET)?ResOff:ResOn,Pins_Test[i].ID,Pins_Test[i].KeyNumber);
				}
			}
		}
	}
	return retvalue;
}

void DataRecieved(SerialPort	*_Port)
{
	ThermostatHeader *ThermostateData;
	KeyHeader	*KeyHeaderString;
	ScenarioHeader *ScenarioHeaderString;
	CommandSwitch	*Cmdsw;
	//GetState *State;
	switch(_Port->Len)
	{
		case sizeof(CommandSwitch):
			Cmdsw = (CommandSwitch *)_Port->Buffer;
			if(Cmdsw->Header == ResetFactorySwitch && Cmdsw->ID == 254 && Cmdsw->CheckSum == (254 + ResetFactorySwitch) && Cmdsw->KeyNumber == 0 && Cmdsw->KeyType == 0 && Cmdsw->SwitchNumber == 0 && Cmdsw->DingDongTime == 0)
			{
				ResetFactory();
			}
			else if(Cmdsw->Header == ResetSwitch && Cmdsw->ID == 254 && Cmdsw->CheckSum == (254 + ResetSwitch) && Cmdsw->KeyNumber == 0 && Cmdsw->KeyType == 0 && Cmdsw->SwitchNumber == 0 && Cmdsw->DingDongTime == 0)
			{
				HAL_NVIC_SystemReset();
			}
			else if(Cmdsw->Header == SetScenarioPin)
			{
				Pins_Scenario[Cmdsw->SwitchNumber][Cmdsw->KeyType - 1].ID = Cmdsw->ID;
				Pins_Scenario[Cmdsw->SwitchNumber][Cmdsw->KeyType - 1].KeyNumber = Cmdsw->KeyNumber;
				Pins_Scenario[Cmdsw->SwitchNumber][Cmdsw->KeyType - 1].State = (ScenarioStates)Cmdsw->CheckSum;
			}
			else if(Cmdsw->Header == SetSwitchPin)
			{
				Pins_Test[Cmdsw->SwitchNumber].ID = Cmdsw->ID;
				Pins_Test[Cmdsw->SwitchNumber].KeyNumber = Cmdsw->KeyNumber;
				Pins_Test[Cmdsw->SwitchNumber].KeyType = Cmdsw->KeyType;
				Pins_Test[Cmdsw->SwitchNumber].DingDongTime = Cmdsw->DingDongTime;
				if((Cmdsw->CheckSum & 0x01) == 0x01)
				{
					Pins_Test[Cmdsw->SwitchNumber].virtualKey = true;
				}
				else
				{
					Pins_Test[Cmdsw->SwitchNumber].virtualKey = false;
				}
			}
			else if(Cmdsw->Header == SaveSwitch && Cmdsw->ID == 254 && Cmdsw->CheckSum == (uint8_t)(254 + SaveSwitch) && Cmdsw->KeyNumber == 0 && Cmdsw->KeyType == 0 && Cmdsw->SwitchNumber == 0)
			{
				if(WriteToFlash(2) == HAL_ERROR)
				{
					WriteToFlash(2);
				}
			}
		break;
		case 4:
			//State = (GetState *)_Port->Buffer;
			/*if(Port.Buffer[0] == 0x11 && Port.Buffer[1] == 0x45)
			{
				SendState = true;
				SendStateTime = HAL_GetTick() + 20;
			}*/
			//ReportAllKeys(State->ID,State->header);
		break;
		case sizeof(KeyHeader):
			KeyHeaderString = (KeyHeader *)_Port->Buffer;
			if(KeyHeaderString->checksum==(uint8_t)(KeyHeaderString->header + KeyHeaderString->ID + KeyHeaderString->KeySelect + KeyHeaderString->state))
			{
				if(KeyHeaderString->header == Curtain && (KeyHeaderString->KeySelect >= Open1 && KeyHeaderString->KeySelect <= Close3))
				{
					changeCurtainState(KeyHeaderString->KeySelect,KeyHeaderString->state,KeyHeaderString->ID);
					DoRelay(Pins_Test);
					//WriteToFlash();
					NextWriteToFlash = HAL_GetTick() + WriteToFlashTime;
				}
				//-------------------------------------------------------------------------------Keys Control
				if (KeyHeaderString->header == Key && KeyHeaderString->KeySelect >= Key01)
				{
					for(uint8_t i=0 ; i < SwitchLen ; i++)
					{
						if(KeyHeaderString->ID == Pins_Test[i].ID && KeyHeaderString->KeySelect == Pins_Test[i].KeyNumber && Pins_Test[i].KeyType == KeyHeaderString->header)
						{
							if(KeyHeaderString->state == ResOn || KeyHeaderString->state == ReqOn)
							{
								Pins_Test[i].PinState = GPIO_PIN_SET;
								if(Pins_Test[i].PinState == GPIO_PIN_SET && Pins_Test[i].DingDongTime != 0)
								{
									DingDongs[i] = Pins_Test[i].DingDongTime + HAL_GetTick();
								}
								if(Pins_Test[i].virtualKey == true)
								{
									//Protocol.SendCommand(Pins_Test[i].KeyType,(Pins_Test[_Count].PinState == GPIO_PIN_RESET)?ResOff:ResOn,Pins_Test[_Count].ID,Pins_Test[_Count].KeyNumber);
									LnkLst->SetCommand(Pins_Test[i].KeyType,(Pins_Test[i].PinState == GPIO_PIN_RESET)?ResOff:ResOn,Pins_Test[i].ID,Pins_Test[i].KeyNumber);
								}
							}
							else
							{
								Pins_Test[i].PinState = GPIO_PIN_RESET;
								if(Pins_Test[i].virtualKey == true)
								{
									//Protocol.SendCommand(Pins_Test[i].KeyType,(Pins_Test[_Count].PinState == GPIO_PIN_RESET)?ResOff:ResOn,Pins_Test[_Count].ID,Pins_Test[_Count].KeyNumber);
									LnkLst->SetCommand(Pins_Test[i].KeyType,(Pins_Test[i].PinState == GPIO_PIN_RESET)?ResOff:ResOn,Pins_Test[i].ID,Pins_Test[i].KeyNumber);
								}
							}
						}
					}
					DoRelay(Pins_Test);
					//WriteToFlash();
					NextWriteToFlash = HAL_GetTick() + WriteToFlashTime;
				}
				else if ((KeyHeaderString->header == Key || KeyHeaderString->header == Curtain) && KeyHeaderString->KeySelect <= Key01)
				{
					for(uint8_t i=0 ; i < SwitchLen ; i++)
					{
						for(uint8_t j=0 ; j < ScenarioLen ; j++)
						{
							if(Pins_Scenario[i][j].ID == KeyHeaderString->ID && Pins_Scenario[i][j].KeyNumber == KeyHeaderString->KeySelect && Pins_Test[i].KeyType == Key)
							{
								if(KeyHeaderString->state == ResOn || KeyHeaderString->state == ReqOn)
								{
									if(Pins_Scenario[i][j].State == ScenarioON || Pins_Scenario[i][j].State == ScenarioONOFF)
									{
										Pins_Test[i].PinState = GPIO_PIN_SET;
										if(Pins_Test[i].virtualKey == true)
										{
											//Protocol.SendCommand(Pins_Test[i].KeyType,(Pins_Test[_Count].PinState == GPIO_PIN_RESET)?ResOff:ResOn,Pins_Test[_Count].ID,Pins_Test[_Count].KeyNumber);
											LnkLst->SetCommand(Pins_Test[i].KeyType,(Pins_Test[i].PinState == GPIO_PIN_RESET)?ResOff:ResOn,Pins_Test[i].ID,Pins_Test[i].KeyNumber);
										}
									}
								}
								else
								{
									if(Pins_Scenario[i][j].State == ScenarioOFF || Pins_Scenario[i][j].State == ScenarioONOFF)
									{
										Pins_Test[i].PinState = GPIO_PIN_RESET;
										if(Pins_Test[i].virtualKey == true)
										{
											//Protocol.SendCommand(Pins_Test[i].KeyType,(Pins_Test[_Count].PinState == GPIO_PIN_RESET)?ResOff:ResOn,Pins_Test[_Count].ID,Pins_Test[_Count].KeyNumber);
											LnkLst->SetCommand(Pins_Test[i].KeyType,(Pins_Test[i].PinState == GPIO_PIN_RESET)?ResOff:ResOn,Pins_Test[i].ID,Pins_Test[i].KeyNumber);
										}
									}
								}
							}
							else if(Pins_Scenario[i][j].ID == KeyHeaderString->ID && Pins_Scenario[i][j].KeyNumber == KeyHeaderString->KeySelect  && Pins_Test[i].KeyType == Curtain)
							{
								if(KeyHeaderString->state == ResOn || KeyHeaderString->state == ReqOn)
								{
									if(Pins_Scenario[i][j].State == ScenarioON || Pins_Scenario[i][j].State == ScenarioONOFF)
									{
										changeCurtainState(Pins_Test[i].KeyNumber,KeyHeaderString->state,Pins_Test[i].ID);
									}
								}
								else
								{
									if(Pins_Scenario[i][j].State == ScenarioOFF || Pins_Scenario[i][j].State == ScenarioONOFF)
									{
										changeCurtainState(Pins_Test[i].KeyNumber,KeyHeaderString->state,Pins_Test[i].ID);
									}
								}
							}
						}
					}
					DoRelay(Pins_Test);
					//WriteToFlash();
					NextWriteToFlash = HAL_GetTick() + WriteToFlashTime;
				}

			}
		break;
		case sizeof(ScenarioHeader):
			ScenarioHeaderString = (ScenarioHeader *)_Port->Buffer;
			if(ScenarioHeaderString->checksum==(uint8_t)(ScenarioHeaderString->header + ScenarioHeaderString->state + ScenarioHeaderString->ID + ScenarioHeaderString->KeySelect + ScenarioHeaderString->Fixed0 + ScenarioHeaderString->ID_Replay + ScenarioHeaderString->KeySelect_Replay))
			{
				if(ScenarioHeaderString->header == Key)
				{
					for(uint8_t i=0 ; i < SwitchLen ; i++)
					{
						for(uint8_t j=0 ; j < ScenarioLen ; j++)
						{
							if(Pins_Scenario[i][j].ID == ScenarioHeaderString->ID && Pins_Scenario[i][j].KeyNumber == ScenarioHeaderString->KeySelect  && Pins_Test[i].KeyType == Key)
							{
								if(ScenarioHeaderString->state == ResOn || ScenarioHeaderString->state == ReqOn)
								{
									if(Pins_Scenario[i][j].State == ScenarioON || Pins_Scenario[i][j].State == ScenarioONOFF)
									{
										Pins_Test[i].PinState = GPIO_PIN_SET;
										if(Pins_Test[i].virtualKey == true)
										{
											//Protocol.SendCommand(Pins_Test[i].KeyType,(Pins_Test[_Count].PinState == GPIO_PIN_RESET)?ResOff:ResOn,Pins_Test[_Count].ID,Pins_Test[_Count].KeyNumber);
											LnkLst->SetCommand(Pins_Test[i].KeyType,(Pins_Test[i].PinState == GPIO_PIN_RESET)?ResOff:ResOn,Pins_Test[i].ID,Pins_Test[i].KeyNumber);
										}
									}
								}
								else
								{
									if(Pins_Scenario[i][j].State == ScenarioOFF || Pins_Scenario[i][j].State == ScenarioONOFF)
									{
										Pins_Test[i].PinState = GPIO_PIN_RESET;
										if(Pins_Test[i].virtualKey == true)
										{
											//Protocol.SendCommand(Pins_Test[i].KeyType,(Pins_Test[_Count].PinState == GPIO_PIN_RESET)?ResOff:ResOn,Pins_Test[_Count].ID,Pins_Test[_Count].KeyNumber);
											LnkLst->SetCommand(Pins_Test[i].KeyType,(Pins_Test[i].PinState == GPIO_PIN_RESET)?ResOff:ResOn,Pins_Test[i].ID,Pins_Test[i].KeyNumber);
										}
									}
								}
							}
							else if(Pins_Scenario[i][j].ID == ScenarioHeaderString->ID && Pins_Scenario[i][j].KeyNumber == ScenarioHeaderString->KeySelect  && Pins_Test[i].KeyType == Curtain)
							{
								if(ScenarioHeaderString->state == ResOn || ScenarioHeaderString->state == ReqOn)
								{
									if(Pins_Scenario[i][j].State == ScenarioON || Pins_Scenario[i][j].State == ScenarioONOFF)
									{
										changeCurtainState(Pins_Scenario[i][j].KeyNumber,ScenarioHeaderString->state,Pins_Scenario[i][j].ID);
									}
								}
								else
								{
									if(Pins_Scenario[i][j].State == ScenarioOFF || Pins_Scenario[i][j].State == ScenarioONOFF)
									{
										changeCurtainState(Pins_Scenario[i][j].KeyNumber,ScenarioHeaderString->state,Pins_Scenario[i][j].ID);
									}
								}
							}
						}
					}
					DoRelay(Pins_Test);
					//WriteToFlash();
					NextWriteToFlash = HAL_GetTick() + WriteToFlashTime;
				}
			}
		break;
		case sizeof(ThermostatHeader):
			ThermostateData = (ThermostatHeader *)_Port->Buffer;
			if(ThermostateData->header == Thermostat )
			{
				for(uint8_t i = 0 ; i < SwitchLen ; i ++)
				{
					if(ThermostateData->ID == Pins_Test[i].ID && Pins_Test[i].KeyNumber == Valve1)
					{
						Pins_Test[i].PinState = (GPIO_PinState)(ThermostateData->FanSpeed_ValveState & 0x0F);
					}
				}
				ThermostateData->FanSpeed_ValveState = ThermostateData->FanSpeed_ValveState >> 4;
				if(ThermostateData->Fanstate != Auto)
				{
					ThermostateData->FanSpeed_ValveState = ThermostateData->Fanstate;
				}
				ThermostateData->FanSpeed_ValveState += Valve1;
				for(uint8_t i = 0 ; i < SwitchLen ; i ++)
				{
					if(ThermostateData->ID == Pins_Test[i].ID && Pins_Test[i].KeyNumber != Valve1)
					{
						Pins_Test[i].PinState = GPIO_PIN_RESET;
					}
					if(ThermostateData->ID == Pins_Test[i].ID && Pins_Test[i].KeyNumber  == ThermostateData->FanSpeed_ValveState)
					{
						Pins_Test[i].PinState = GPIO_PIN_SET;
					}
				}
				DoRelay(Pins_Test);
				//WriteToFlash();
				NextWriteToFlash = HAL_GetTick() + WriteToFlashTime;
			}
		break;
		default:
		break;
	}
}
/* USER CODE END 4 */

void HAL_TIM_PeriodElapsedCallback(TIM_HandleTypeDef *htim)
{
  if (htim->Instance == TIM7)
  {
    HAL_IncTick();
  }
}

void Error_Handler(void)
{
  __disable_irq();
  while (1)
  {
  }
}
